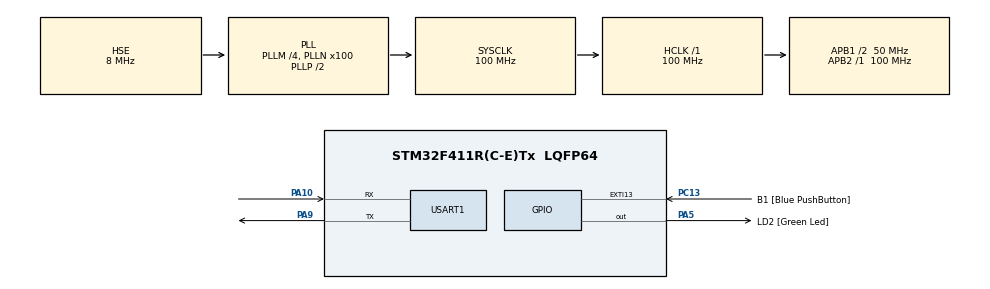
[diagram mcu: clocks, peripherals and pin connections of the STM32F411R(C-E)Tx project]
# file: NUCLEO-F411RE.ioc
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Mcu.Family=STM32F4
Mcu.Name=STM32F411R(C-E)Tx
Mcu.Package=LQFP64
NVIC.PriorityGroup=NVIC_PRIORITYGROUP_0
PA10.Mode=Asynchronous
PA10.Signal=USART1_RX
PA13.GPIO_Label=TMS
PA13.Mode=Serial_Wire
PA13.Signal=SYS_JTMS-SWDIO
PA14.GPIO_Label=TCK
PA14.Mode=Serial_Wire
PA14.Signal=SYS_JTCK-SWCLK
PA5.GPIO_Label=LD2 [Green Led]
PA5.Signal=GPIO_Output
PA9.Mode=Asynchronous
PA9.Signal=USART1_TX
PB3.GPIO_Label=SWO
PB3.Signal=SYS_JTDO-SWO
PC13-ANTI_TAMP.GPIO_Label=B1 [Blue PushButton]
PC13-ANTI_TAMP.GPIO_ModeDefaultEXTI=GPIO_MODE_IT_FALLING
PC13-ANTI_TAMP.Signal=GPXTI13
PC14-OSC32_IN.Signal=RCC_OSC32_IN
PC15-OSC32_OUT.Signal=RCC_OSC32_OUT
PH0\ -\ OSC_IN.Mode=HSE-External-Oscillator
PH0\ -\ OSC_IN.Signal=RCC_OSC_IN
PH1\ -\ OSC_OUT.Mode=HSE-External-Oscillator
PH1\ -\ OSC_OUT.Signal=RCC_OSC_OUT
ProjectManager.HeapSize=0x800
ProjectManager.StackSize=0x800
ProjectManager.TargetToolchain=MDK-ARM V5.32
RCC.48MHZClocksFreq_Value=28571428.57142857
RCC.AHBFreq_Value=100000000
RCC.APB1CLKDivider=RCC_HCLK_DIV2
RCC.APB1Freq_Value=50000000
RCC.APB1TimFreq_Value=100000000
RCC.APB2Freq_Value=100000000
RCC.APB2TimFreq_Value=100000000
RCC.CortexFreq_Value=100000000
RCC.FLatency-AdvancedSettings=FLASH_LATENCY_3
RCC.HCLKFreq_Value=100000000
RCC.HSE_VALUE=8000000
RCC.HSI_VALUE=16000000
RCC.LSE_VALUE=32768
RCC.PLLM=4
RCC.PLLMUL=RCC_PLL_MUL9
RCC.PLLN=100
RCC.PLLQ=7
RCC.PLLSourceVirtual=RCC_PLLSOURCE_HSE
RCC.RCC_PLLsource_Clock_Source_FROM_HSE=RCC_HSE_PREDIV_DIV2
RCC.SYSCLKFreq_VALUE=100000000
RCC.SYSCLKSource=RCC_SYSCLKSOURCE_PLLCLK
RCC.SYSCLKSourceVirtual=RCC_SYSCLKSOURCE_PLLCLK
RCC.VCOOutputFreq_Value=200000000
STMicroelectronics.X-CUBE-AI.8.1.0.ActivationBufferSizeList=0
STMicroelectronics.X-CUBE-AI.8.1.0.ActivationBuffers=(ai_handle) 0x20000000
STMicroelectronics.X-CUBE-AI.8.1.0.ApplicationCcDeviceJjApplication=SystemPerformance
STMicroelectronics.X-CUBE-AI.8.1.0.HeapSize=0x800
STMicroelectronics.X-CUBE-AI.8.1.0.MaximumNumberOfInputLayer=1
STMicroelectronics.X-CUBE-AI.8.1.0.MaximumNumberOfOutputLayer=1
STMicroelectronics.X-CUBE-AI.8.1.0.MaximumSizeOfInputLayer=1
STMicroelectronics.X-CUBE-AI.8.1.0.MaximumSizeOfOutputLayer=1
STMicroelectronics.X-CUBE-AI.8.1.0.ModelActualCompression-f3c1005d4d7f918ed1bac86d43d0881b4d4bcb70e91f0226daeb41e9713fe1c1=0.0
STMicroelectronics.X-CUBE-AI.8.1.0.ModelCompression-f3c1005d4d7f918ed1bac86d43d0881b4d4bcb70e91f0226daeb41e9713fe1c1=Lossless
STMicroelectronics.X-CUBE-AI.8.1.0.ModelFlashOccupation-f3c1005d4d7f918ed1bac86d43d0881b4d4bcb70e91f0226daeb41e9713fe1c1=0
STMicroelectronics.X-CUBE-AI.8.1.0.ModelHashList=f3c1005d4d7f918ed1bac86d43d0881b4d4bcb70e91f0226daeb41e9713fe1c1
STMicroelectronics.X-CUBE-AI.8.1.0.ModelKind-f3c1005d4d7f918ed1bac86d43d0881b4d4bcb70e91f0226daeb41e9713fe1c1=ONNX
STMicroelectronics.X-CUBE-AI.8.1.0.ModelMacc-f3c1005d4d7f918ed1bac86d43d0881b4d4bcb70e91f0226daeb41e9713fe1c1=0
STMicroelectronics.X-CUBE-AI.8.1.0.ModelName-f3c1005d4d7f918ed1bac86d43d0881b4d4bcb70e91f0226daeb41e9713fe1c1=network
STMicroelectronics.X-CUBE-AI.8.1.0.ModelNameList=network
STMicroelectronics.X-CUBE-AI.8.1.0.ModelRamOccupation-f3c1005d4d7f918ed1bac86d43d0881b4d4bcb70e91f0226daeb41e9713fe1c1=0
STMicroelectronics.X-CUBE-AI.8.1.0.ModelStructureFile-f3c1005d4d7f918ed1bac86d43d0881b4d4bcb70e91f0226daeb41e9713fe1c1=iris_model.onnx
STMicroelectronics.X-CUBE-AI.8.1.0.ModelType-f3c1005d4d7f918ed1bac86d43d0881b4d4bcb70e91f0226daeb41e9713fe1c1=Saved model
STMicroelectronics.X-CUBE-AI.8.1.0.ReadyForCodeGeneration=false
STMicroelectronics.X-CUBE-AI.8.1.0.StackSize=0x800
STMicroelectronics.X-CUBE-AI.8.1.0.WorkingBufferStartAddrList=0xFFFFFFFF
STMicroelectronics.X-CUBE-AI.8.1.0.XAaCUBEAaAICcArtificialOoIntelligenceJjCore=true
STMicroelectronics.X-CUBE-AI.8.1.0.copyWeightToRam=false
STMicroelectronics.X-CUBE-AI.8.1.0.copyWeightToRam-f3c1005d4d7f918ed1bac86d43d0881b4d4bcb70e91f0226daeb41e9713fe1c1=false
STMicroelectronics.X-CUBE-AI.8.1.0.customLayerConfigEnabled=false
STMicroelectronics.X-CUBE-AI.8.1.0.customLayerConfigEnabled-f3c1005d4d7f918ed1bac86d43d0881b4d4bcb70e91f0226daeb41e9713fe1c1=false
STMicroelectronics.X-CUBE-AI.8.1.0.memoryPool0driver-f3c1005d4d7f918ed1bac86d43d0881b4d4bcb70e91f0226daeb41e9713fe1c1=RAM
STMicroelectronics.X-CUBE-AI.8.1.0.memoryPool0id-f3c1005d4d7f918ed1bac86d43d0881b4d4bcb70e91f0226daeb41e9713fe1c1=0
STMicroelectronics.X-CUBE-AI.8.1.0.memoryPool0max-f3c1005d4d7f918ed1bac86d43d0881b4d4bcb70e91f0226daeb41e9713fe1c1=128
STMicroelectronics.X-CUBE-AI.8.1.0.memoryPool0name-f3c1005d4d7f918ed1bac86d43d0881b4d4bcb70e91f0226daeb41e9713fe1c1=POOL_0_RAM
STMicroelectronics.X-CUBE-AI.8.1.0.memoryPool0size-f3c1005d4d7f918ed1bac86d43d0881b4d4bcb70e91f0226daeb41e9713fe1c1=109
STMicroelectronics.X-CUBE-AI.8.1.0.memoryPool0start-f3c1005d4d7f918ed1bac86d43d0881b4d4bcb70e91f0226daeb41e9713fe1c1=0x20000000
STMicroelectronics.X-CUBE-AI.8.1.0.memoryPool0used-f3c1005d4d7f918ed1bac86d43d0881b4d4bcb70e91f0226daeb41e9713fe1c1=112.0
STMicroelectronics.X-CUBE-AI.8.1.0.noOnnxIoTranspose=false
STMicroelectronics.X-CUBE-AI.8.1.0.noOnnxIoTranspose-f3c1005d4d7f918ed1bac86d43d0881b4d4bcb70e91f0226daeb41e9713fe1c1=false
STMicroelectronics.X-CUBE-AI.8.1.0.useInputAllocation=true
STMicroelectronics.X-CUBE-AI.8.1.0.useInputAllocation-f3c1005d4d7f918ed1bac86d43d0881b4d4bcb70e91f0226daeb41e9713fe1c1=true
STMicroelectronics.X-CUBE-AI.8.1.0.useOutputAllocation=true
STMicroelectronics.X-CUBE-AI.8.1.0.useOutputAllocation-f3c1005d4d7f918ed1bac86d43d0881b4d4bcb70e91f0226daeb41e9713fe1c1=true
USART1.VirtualMode=VM_ASYNC
VP_CRC_VS_CRC.Mode=CRC_Activate
VP_STMicroelectronics.X-CUBE-AI_VS_ArtificialOoIntelligenceJjXAaCUBEAaAI_8.1.0.Mode=ArtificialOoIntelligenceJjXAaCUBEAaAI
VP_STMicroelectronics.X-CUBE-AI_VS_DeviceJjApplication_8.1.0.Mode=DeviceJjApplication
board=NUCLEO-F411RE

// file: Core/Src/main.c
/* USER CODE BEGIN Header */
/**
  ******************************************************************************
  * @file           : main.c
  * @brief          : Main program body
  ******************************************************************************
  * @attention
  *
  * Copyright (c) 2026 STMicroelectronics.
  * All rights reserved.
  *
  * This software is licensed under terms that can be found in the LICENSE file
  * in the root directory of this software component.
  * If no LICENSE file comes with this software, it is provided AS-IS.
  *
  ******************************************************************************
  */
/* USER CODE END Header */
#include "main.h"
#include "app_x-cube-ai.h"

/* USER CODE BEGIN Includes */
#include "ai_inference.h"
#include "serial_handler.h"
#include "statistics.h"
#include <stdio.h>
/* USER CODE END Includes */

CRC_HandleTypeDef hcrc;

UART_HandleTypeDef huart1;

/* USER CODE BEGIN PV */
static uint8_t validate_mode = 0;
static IrisClass current_actual_class = IRIS_UNKNOWN;
/* USER CODE END PV */

void SystemClock_Config(void);
static void MX_GPIO_Init(void);
static void MX_CRC_Init(void);
static void MX_USART1_UART_Init(void);
/* USER CODE BEGIN PFP */
static void PredictCallback(const IrisInput* input, uint8_t cmd);
/* USER CODE END PFP */

int main(void)
{

  /* MCU Configuration--------------------------------------------------------*/

  /* Reset of all peripherals, Initializes the Flash interface and the Systick. */
  HAL_Init();

  /* Configure the system clock */
  SystemClock_Config();

  /* Initialize all configured peripherals */
  MX_GPIO_Init();
  MX_CRC_Init();
  MX_USART1_UART_Init();
  MX_X_CUBE_AI_Init();
  /* USER CODE BEGIN 2 */
  Serial_Handler_SendString("\r\n=== Iris Classification System ===\r\n");
  Serial_Handler_SendString("Initializing AI Model...\r\n");

  if (AI_Inference_Init() != 0) {
    Serial_Handler_SendString("ERROR: AI Init Failed!\r\n");
    Error_Handler();
  }

  Serial_Handler_SendString("AI Model Loaded Successfully!\r\n");
  Serial_Handler_SendString("\r\nUsage: Enter 4 float values separated by space or comma\r\n");
  Serial_Handler_SendString("Format: sepal_len sepal_wid petal_len petal_wid\r\n");
  Serial_Handler_SendString("Example: 5.1 3.5 1.4 0.2\r\n");
  Serial_Handler_SendString("=================================\r\n");

  Statistics_Init();
  Serial_Handler_Init();
  Serial_Handler_SetCallback(PredictCallback);
  /* USER CODE END 2 */

  /* Infinite loop */
  while (1)
  {

  MX_X_CUBE_AI_Process();
    /* USER CODE BEGIN 3 */
    Serial_Handler_Loop();
  }
  /* USER CODE END 3 */
}

void SystemClock_Config(void)
{
  RCC_OscInitTypeDef RCC_OscInitStruct = {0};
  RCC_ClkInitTypeDef RCC_ClkInitStruct = {0};

  /** Configure the main internal regulator output voltage
  */
  __HAL_RCC_PWR_CLK_ENABLE();
  __HAL_PWR_VOLTAGESCALING_CONFIG(PWR_REGULATOR_VOLTAGE_SCALE1);

  /** Initializes the RCC Oscillators according to the specified parameters
  * in the RCC_OscInitTypeDef structure.
  */
  RCC_OscInitStruct.OscillatorType = RCC_OSCILLATORTYPE_HSE;
  RCC_OscInitStruct.HSEState = RCC_HSE_ON;
  RCC_OscInitStruct.PLL.PLLState = RCC_PLL_ON;
  RCC_OscInitStruct.PLL.PLLSource = RCC_PLLSOURCE_HSE;
  RCC_OscInitStruct.PLL.PLLM = 4;
  RCC_OscInitStruct.PLL.PLLN = 100;
  RCC_OscInitStruct.PLL.PLLP = RCC_PLLP_DIV2;
  RCC_OscInitStruct.PLL.PLLQ = 7;
  if (HAL_RCC_OscConfig(&RCC_OscInitStruct) != HAL_OK)
  {
    Error_Handler();
  }

  /** Initializes the CPU, AHB and APB buses clocks
  */
  RCC_ClkInitStruct.ClockType = RCC_CLOCKTYPE_HCLK|RCC_CLOCKTYPE_SYSCLK
                              |RCC_CLOCKTYPE_PCLK1|RCC_CLOCKTYPE_PCLK2;
  RCC_ClkInitStruct.SYSCLKSource = RCC_SYSCLKSOURCE_PLLCLK;
  RCC_ClkInitStruct.AHBCLKDivider = RCC_SYSCLK_DIV1;
  RCC_ClkInitStruct.APB1CLKDivider = RCC_HCLK_DIV2;
  RCC_ClkInitStruct.APB2CLKDivider = RCC_HCLK_DIV1;

  if (HAL_RCC_ClockConfig(&RCC_ClkInitStruct, FLASH_LATENCY_3) != HAL_OK)
  {
    Error_Handler();
  }
}

static void MX_CRC_Init(void)
{

  hcrc.Instance = CRC;
  if (HAL_CRC_Init(&hcrc) != HAL_OK)
  {
    Error_Handler();
  }

}

static void MX_USART1_UART_Init(void)
{

  huart1.Instance = USART1;
  huart1.Init.BaudRate = 115200;
  huart1.Init.WordLength = UART_WORDLENGTH_8B;
  huart1.Init.StopBits = UART_STOPBITS_1;
  huart1.Init.Parity = UART_PARITY_NONE;
  huart1.Init.Mode = UART_MODE_TX_RX;
  huart1.Init.HwFlowCtl = UART_HWCONTROL_NONE;
  huart1.Init.OverSampling = UART_OVERSAMPLING_16;
  if (HAL_UART_Init(&huart1) != HAL_OK)
  {
    Error_Handler();
  }

}

static void MX_GPIO_Init(void)
{
  GPIO_InitTypeDef GPIO_InitStruct = {0};

  /* GPIO Ports Clock Enable */
  __HAL_RCC_GPIOC_CLK_ENABLE();
  __HAL_RCC_GPIOH_CLK_ENABLE();
  __HAL_RCC_GPIOA_CLK_ENABLE();
  __HAL_RCC_GPIOB_CLK_ENABLE();

  /*Configure GPIO pin Output Level */
  HAL_GPIO_WritePin(LD2_GPIO_Port, LD2_Pin, GPIO_PIN_RESET);

  /*Configure GPIO pin : B1_Pin */
  GPIO_InitStruct.Pin = B1_Pin;
  GPIO_InitStruct.Mode = GPIO_MODE_IT_FALLING;
  GPIO_InitStruct.Pull = GPIO_NOPULL;
  HAL_GPIO_Init(B1_GPIO_Port, &GPIO_InitStruct);

  /*Configure GPIO pin : LD2_Pin */
  GPIO_InitStruct.Pin = LD2_Pin;
  GPIO_InitStruct.Mode = GPIO_MODE_OUTPUT_PP;
  GPIO_InitStruct.Pull = GPIO_NOPULL;
  GPIO_InitStruct.Speed = GPIO_SPEED_FREQ_LOW;
  HAL_GPIO_Init(LD2_GPIO_Port, &GPIO_InitStruct);

}

/* USER CODE BEGIN 4 */
static void PredictCallback(const IrisInput* input, uint8_t cmd)
{
  IrisResult result;
  char buffer[128];
  int len;
  int ret;

  (void)cmd;

  Serial_Handler_SendString("\r\n[DEBUG] In callback, calling AI_Predict...\r\n");

  ret = AI_Inference_Predict(input, &result);

  snprintf(buffer, sizeof(buffer), "[DEBUG] AI_Predict returned: %d\r\n", ret);
  Serial_Handler_SendString(buffer);

  if (ret == 0) {
    len = snprintf(buffer, sizeof(buffer),
      "Predicted: %s (%.1f%%)\r\n",
      AI_Inference_GetClassName(result.predicted_class),
      result.confidence);
    Serial_Handler_SendString(buffer);

    Serial_Handler_SendString("Probabilities:\r\n");
    len = snprintf(buffer, sizeof(buffer),
      "  Setosa: %.1f%%, Versicolor: %.1f%%, Virginica: %.1f%%\r\n",
      result.probabilities[0] * 100.0f,
      result.probabilities[1] * 100.0f,
      result.probabilities[2] * 100.0f);
    Serial_Handler_SendString(buffer);
  } else {
    Serial_Handler_SendString("ERROR: Prediction failed!\r\n");
  }
}
/* USER CODE END 4 */

void Error_Handler(void)
{
  __disable_irq();
  while (1)
  {
  }
}
